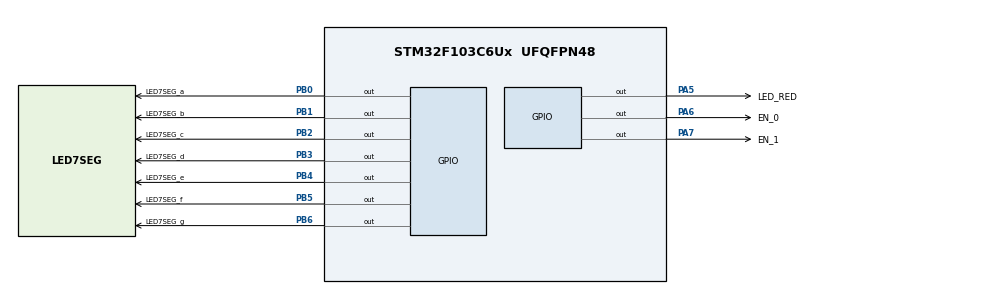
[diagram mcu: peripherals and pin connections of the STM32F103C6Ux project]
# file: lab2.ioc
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Mcu.Family=STM32F1
Mcu.Name=STM32F103C6Ux
Mcu.Package=UFQFPN48
NVIC.PriorityGroup=NVIC_PRIORITYGROUP_4
NVIC.TIM2_IRQn=true\:0\:0\:false\:false\:true\:true\:true\:true
PA13.Mode=Serial_Wire
PA13.Signal=SYS_JTMS-SWDIO
PA14.Mode=Serial_Wire
PA14.Signal=SYS_JTCK-SWCLK
PA5.GPIO_Label=LED_RED
PA5.Signal=GPIO_Output
PA6.GPIO_Label=EN_0
PA6.Signal=GPIO_Output
PA7.GPIO_Label=EN_1
PA7.Signal=GPIO_Output
PB0.GPIO_Label=LED7SEG_a
PB0.Signal=GPIO_Output
PB1.GPIO_Label=LED7SEG_b
PB1.Signal=GPIO_Output
PB2.GPIO_Label=LED7SEG_c
PB2.Signal=GPIO_Output
PB3.GPIO_Label=LED7SEG_d
PB3.Signal=GPIO_Output
PB4.GPIO_Label=LED7SEG_e
PB4.Signal=GPIO_Output
PB5.GPIO_Label=LED7SEG_f
PB5.Signal=GPIO_Output
PB6.GPIO_Label=LED7SEG_g
PB6.Signal=GPIO_Output
ProjectManager.HeapSize=0x200
ProjectManager.StackSize=0x400
ProjectManager.TargetToolchain=STM32CubeIDE
RCC.APB1Freq_Value=8000000
RCC.APB2Freq_Value=8000000
TIM2.Period=9
TIM2.Prescaler=7999
VP_TIM2_VS_ClockSourceINT.Mode=Internal
board=custom

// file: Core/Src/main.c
/* USER CODE BEGIN Header */
/**
 ******************************************************************************
 * @file           : main.c
 * @brief          : Main program body
 ******************************************************************************
 * @attention
 *
 * Copyright (c) 2025 STMicroelectronics.
 * All rights reserved.
 *
 * This software is licensed under terms that can be found in the LICENSE file
 * in the root directory of this software component.
 * If no LICENSE file comes with this software, it is provided AS-IS.
 *
 ******************************************************************************
 */
/* USER CODE END Header */
#include "main.h"
#include "tim.h"
#include "gpio.h"

/* USER CODE BEGIN Includes */
#include "led7seg.h"
#include "software_timer.h"
#include "led_matrix.h"
/* USER CODE END Includes */

/* USER CODE BEGIN PV */
int hour = 15, minute = 8, second = 50;
/* USER CODE END PV */

void SystemClock_Config(void);
/* USER CODE BEGIN PFP */
void updateClockBuffer();
/* USER CODE END PFP */

int main(void)
{

	/* MCU Configuration--------------------------------------------------------*/

	/* Reset of all peripherals, Initializes the Flash interface and the Systick. */
	HAL_Init();

	/* Configure the system clock */
	SystemClock_Config();

	/* Initialize all configured peripherals */
	MX_GPIO_Init();
	MX_TIM2_Init();
	/* USER CODE BEGIN 2 */
	HAL_TIM_Base_Start_IT(&htim2);

	HAL_GPIO_WritePin(LED_RED_GPIO_Port, LED_RED_Pin, 1);
	updateClockBuffer();
	update7SEG(index_led++);
	HAL_GPIO_WritePin(DOT_GPIO_Port, DOT_Pin, 0);

	setTimer0(250);
	int counter_1 = 0;
	int counter_2 = 0;
	/* USER CODE END 2 */

	/* Infinite loop */
	/* USER CODE BEGIN WHILE */
	while (1)
	{
		while (timer0_flag == 0);
		timer0_flag = 0;

		HAL_GPIO_TogglePin(LED_RED_GPIO_Port, LED_RED_Pin);

		++counter_1;
		++counter_2;

		if (counter_1 == 4) {
			counter_1 = 0;
			led_7seg_toggle_dot();
		}

		if (counter_2 == 8) {
			counter_2 = 0;
			shift_left_matrix();
		}

		update7SEG(index_led++);
		if (index_led >= 4) {
			index_led = 0;
		}

		second++;
		if (second >= 60){
			second = 0;
			minute++;
		}
		if (minute >= 60){
			minute = 0;
			hour++;
		}
		if (hour >= 24){
			hour = 0;
		}
		updateClockBuffer();

		updateLEDMatrix(index_led_matrix++);
		if (index_led_matrix == 8) {
			index_led_matrix = 0;
		}
		/* USER CODE END WHILE */

	}
}
void SystemClock_Config(void)
{
	RCC_OscInitTypeDef RCC_OscInitStruct = {0};
	RCC_ClkInitTypeDef RCC_ClkInitStruct = {0};

	/** Initializes the RCC Oscillators according to the specified parameters
	 * in the RCC_OscInitTypeDef structure.
	 */
	RCC_OscInitStruct.OscillatorType = RCC_OSCILLATORTYPE_HSI;
	RCC_OscInitStruct.HSIState = RCC_HSI_ON;
	RCC_OscInitStruct.HSICalibrationValue = RCC_HSICALIBRATION_DEFAULT;
	RCC_OscInitStruct.PLL.PLLState = RCC_PLL_NONE;
	if (HAL_RCC_OscConfig(&RCC_OscInitStruct) != HAL_OK)
	{
		Error_Handler();
	}

	/** Initializes the CPU, AHB and APB buses clocks
	 */
	RCC_ClkInitStruct.ClockType = RCC_CLOCKTYPE_HCLK|RCC_CLOCKTYPE_SYSCLK
			|RCC_CLOCKTYPE_PCLK1|RCC_CLOCKTYPE_PCLK2;
	RCC_ClkInitStruct.SYSCLKSource = RCC_SYSCLKSOURCE_HSI;
	RCC_ClkInitStruct.AHBCLKDivider = RCC_SYSCLK_DIV1;
	RCC_ClkInitStruct.APB1CLKDivider = RCC_HCLK_DIV1;
	RCC_ClkInitStruct.APB2CLKDivider = RCC_HCLK_DIV1;

	if (HAL_RCC_ClockConfig(&RCC_ClkInitStruct, FLASH_LATENCY_0) != HAL_OK)
	{
		Error_Handler();
	}
}

/* USER CODE BEGIN 4 */
void updateClockBuffer()
{
	led_buffer[0] = hour / 10;
	led_buffer[1] = hour % 10;
	led_buffer[2] = minute / 10;
	led_buffer[3] = minute % 10;
}
/* USER CODE END 4 */

void Error_Handler(void)
{
	__disable_irq();
	while (1)
	{
	}
}
